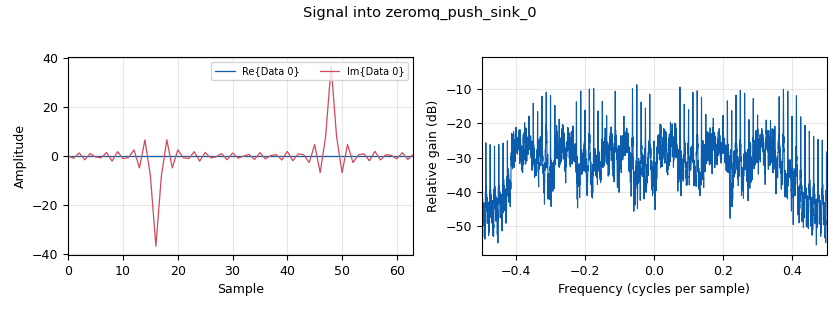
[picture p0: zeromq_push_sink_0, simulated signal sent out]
<?xml version='1.0' encoding='utf-8'?>
<?grc format='1' created='3.7.10'?>
<flow_graph>
<block>
<key>options</key>
<param><key>id</key><value>vr2_tx</value></param>
<param><key>category</key><value>Custom</value></param>
<param><key>generate_options</key><value>qt_gui</value></param>
<param><key>run_options</key><value>run</value></param>
<param><key>title</key><value>VR2 TX all-in-one</value></param>
</block>
<block>
<key>variable_function_probe</key>
<param><key>id</key><value>cpu_percent</value></param>
<param><key>block_id</key><value>zcpu</value></param>
<param><key>function_name</key><value>cpu_percent</value></param>
<param><key>value</key><value>0</value></param>
<param><key>poll_rate</key><value>1</value></param>
</block>
<block>
<key>variable</key>
<param><key>id</key><value>fft_len</value></param>
<param><key>value</key><value>64</value></param>
</block>
<block>
<key>variable_config</key>
<param><key>id</key><value>ip</value></param>
<param><key>config_file</key><value>./default</value></param>
<param><key>value</key><value>"127.0.0.1"</value></param>
<param><key>option</key><value>"ip"</value></param>
<param><key>section</key><value>"vr2_tx"</value></param>
<param><key>type</key><value>string</value></param>
<param><key>writeback</key><value>None</value></param>
</block>
<block>
<key>variable_function_probe</key>
<param><key>id</key><value>iq_rxrate</value></param>
<param><key>block_id</key><value>ziq_rxrate</value></param>
<param><key>function_name</key><value>rate</value></param>
<param><key>value</key><value>0</value></param>
<param><key>poll_rate</key><value>10</value></param>
</block>
<block>
<key>variable</key>
<param><key>id</key><value>occupied_carriers</value></param>
<param><key>value</key><value>(sorted(tuple(set([x for x in range(-26,27)]) - set(pilot_carriers[0]) - set([0,]))),)</value></param>
</block>
<block>
<key>variable</key>
<param><key>id</key><value>packet_len</value></param>
<param><key>value</key><value>100</value></param>
</block>
<block>
<key>variable</key>
<param><key>id</key><value>pattern1</value></param>
<param><key>value</key><value>[0., 1.41421356, 0., -1.41421356]</value></param>
</block>
<block>
<key>variable</key>
<param><key>id</key><value>pattern2</value></param>
<param><key>value</key><value>[1, -1, 1, -1]</value></param>
</block>
<block>
<key>variable</key>
<param><key>id</key><value>pilot_carriers</value></param>
<param><key>value</key><value>((-14, -7, 7, 14),)</value></param>
</block>
<block>
<key>variable</key>
<param><key>id</key><value>pilot_symbols</value></param>
<param><key>value</key><value>((1, 1, -1, -1),)</value></param>
</block>
<block>
<key>variable_function_probe</key>
<param><key>id</key><value>rx_goodput</value></param>
<param><key>block_id</key><value>zrxrate</value></param>
<param><key>function_name</key><value>rate</value></param>
<param><key>value</key><value>0</value></param>
<param><key>poll_rate</key><value>10</value></param>
</block>
<block>
<key>variable_config</key>
<param><key>id</key><value>rxport</value></param>
<param><key>config_file</key><value>./default</value></param>
<param><key>value</key><value>"2666"</value></param>
<param><key>option</key><value>"rxport2"</value></param>
<param><key>section</key><value>"usrp_hydra"</value></param>
<param><key>type</key><value>string</value></param>
<param><key>writeback</key><value>None</value></param>
</block>
<block>
<key>variable_config</key>
<param><key>id</key><value>samprate</value></param>
<param><key>config_file</key><value>./default</value></param>
<param><key>value</key><value>0</value></param>
<param><key>option</key><value>"samprate2"</value></param>
<param><key>section</key><value>"usrp_hydra"</value></param>
<param><key>type</key><value>real</value></param>
<param><key>writeback</key><value>None</value></param>
</block>
<block>
<key>variable</key>
<param><key>id</key><value>sync_word1</value></param>
<param><key>value</key><value>[0., 0., 0., 0., 0., 0.,] + pattern1 * ((fft_len-12)/len(pattern1))  +[0., 0., 0., 0., 0., 0.,] </value></param>
</block>
<block>
<key>variable</key>
<param><key>id</key><value>sync_word2</value></param>
<param><key>value</key><value>[0., 0., 0., 0., 0., 0.,] + pattern2 * ((fft_len-12)/len(pattern2))  +[0., 0., 0., 0., 0., 0.,] </value></param>
</block>
<block>
<key>variable_function_probe</key>
<param><key>id</key><value>tx_goodput</value></param>
<param><key>block_id</key><value>ztxrate</value></param>
<param><key>function_name</key><value>rate</value></param>
<param><key>value</key><value>0</value></param>
<param><key>poll_rate</key><value>10</value></param>
</block>
<block>
<key>variable_function_probe</key>
<param><key>id</key><value>tx_iq_rate</value></param>
<param><key>block_id</key><value>ztxiqrate</value></param>
<param><key>function_name</key><value>rate</value></param>
<param><key>value</key><value>0</value></param>
<param><key>poll_rate</key><value>10</value></param>
</block>
<block>
<key>variable_config</key>
<param><key>id</key><value>txoutport</value></param>
<param><key>config_file</key><value>./default</value></param>
<param><key>value</key><value>"2666"</value></param>
<param><key>option</key><value>"port"</value></param>
<param><key>section</key><value>"vr2_tx"</value></param>
<param><key>type</key><value>string</value></param>
<param><key>writeback</key><value>None</value></param>
</block>
<block>
<key>variable_config</key>
<param><key>id</key><value>usrpip</value></param>
<param><key>config_file</key><value>./default</value></param>
<param><key>value</key><value>"127.0.0.1"</value></param>
<param><key>option</key><value>"ip"</value></param>
<param><key>section</key><value>"usrp_hydra"</value></param>
<param><key>type</key><value>string</value></param>
<param><key>writeback</key><value>None</value></param>
</block>
<block>
<key>variable_config</key>
<param><key>id</key><value>xmlrpcport</value></param>
<param><key>config_file</key><value>default</value></param>
<param><key>value</key><value>8081</value></param>
<param><key>option</key><value>xmlrpcport</value></param>
<param><key>section</key><value>"vr2_tx"</value></param>
<param><key>type</key><value>int</value></param>
<param><key>writeback</key><value>None</value></param>
</block>
<block>
<key>variable</key>
<param><key>id</key><value>zcpu</value></param>
<param><key>value</key><value>psutil</value></param>
</block>
<block>
<key>import</key>
<param><key>id</key><value>acpu</value></param>
<param><key>import</key><value>import psutil</value></param>
</block>
<block>
<key>analog_random_source_x</key>
<param><key>id</key><value>analog_random_source_x_0</value></param>
<param><key>max</key><value>10</value></param>
<param><key>min</key><value>5</value></param>
<param><key>num_samps</key><value>1000</value></param>
<param><key>type</key><value>byte</value></param>
<param><key>repeat</key><value>True</value></param>
</block>
<block>
<key>blocks_stream_to_tagged_stream</key>
<param><key>id</key><value>blocks_stream_to_tagged_stream_0</value></param>
<param><key>len_tag_key</key><value>"packet_len"</value></param>
<param><key>packet_len</key><value>packet_len</value></param>
<param><key>type</key><value>byte</value></param>
</block>
<block>
<key>blocks_tag_debug</key>
<param><key>id</key><value>blocks_tag_debug_0</value></param>
<param><key>type</key><value>byte</value></param>
<param><key>name</key><value>RX'd Packet</value></param>
</block>
<block>
<key>blocks_tag_debug</key>
<param><key>id</key><value>blocks_tag_debug_0_0</value></param>
<param><key>type</key><value>byte</value></param>
<param><key>name</key><value>TX'd Packet</value></param>
</block>
<block>
<key>blocks_tag_debug</key>
<param><key>id</key><value>blocks_tag_debug_0_1</value></param>
<param><key>type</key><value>complex</value></param>
<param><key>name</key><value>RX'd IQ</value></param>
</block>
<block>
<key>blocks_throttle</key>
<param><key>id</key><value>blocks_throttle_0</value></param>
<param><key>samples_per_second</key><value>samprate</value></param>
<param><key>type</key><value>complex</value></param>
</block>
<block>
<key>digital_ofdm_rx</key>
<param><key>id</key><value>digital_ofdm_rx_0</value></param>
<param><key>cp_len</key><value>16</value></param>
<param><key>fft_len</key><value>64</value></param>
<param><key>header_mod</key><value>"BPSK"</value></param>
<param><key>occupied_carriers</key><value>occupied_carriers</value></param>
<param><key>packet_len_key</key><value>"packet_len"</value></param>
<param><key>payload_mod</key><value>"BPSK"</value></param>
<param><key>pilot_carriers</key><value>pilot_carriers</value></param>
<param><key>pilot_symbols</key><value>pilot_symbols</value></param>
<param><key>sync_word1</key><value>sync_word1</value></param>
<param><key>sync_word2</key><value>sync_word2</value></param>
</block>
<block>
<key>digital_ofdm_tx</key>
<param><key>id</key><value>digital_ofdm_tx_0</value></param>
<param><key>cp_len</key><value>16</value></param>
<param><key>fft_len</key><value>fft_len</value></param>
<param><key>header_mod</key><value>"BPSK"</value></param>
<param><key>packet_len_key</key><value>"packet_len"</value></param>
<param><key>occupied_carriers</key><value>occupied_carriers</value></param>
<param><key>payload_mod</key><value>"BPSK"</value></param>
<param><key>pilot_carriers</key><value>pilot_carriers</value></param>
<param><key>pilot_symbols</key><value>pilot_symbols</value></param>
<param><key>rolloff</key><value>0</value></param>
<param><key>sync_word1</key><value>sync_word1</value></param>
<param><key>sync_word2</key><value>sync_word2</value></param>
</block>
<block>
<key>qtgui_waterfall_sink_x</key>
<param><key>id</key><value>qtgui_waterfall_sink_x_0</value></param>
<param><key>bw</key><value>1e6</value></param>
<param><key>fc</key><value>0</value></param>
<param><key>fftsize</key><value>1024</value></param>
<param><key>showports</key><value>True</value></param>
<param><key>type</key><value>complex</value></param>
<param><key>wintype</key><value>firdes.WIN_BLACKMAN_hARRIS</value></param>
</block>
<block>
<key>xmlrpc_server</key>
<param><key>id</key><value>xmlrpc_server_0</value></param>
<param><key>addr</key><value>ip</value></param>
<param><key>port</key><value>xmlrpcport</value></param>
</block>
<block>
<key>zeromq_pull_source</key>
<param><key>id</key><value>zeromq_pull_source_0</value></param>
<param><key>address</key><value>"tcp://" + usrpip + ":" + rxport</value></param>
<param><key>type</key><value>complex</value></param>
<param><key>pass_tags</key><value>True</value></param>
<param><key>timeout</key><value>100</value></param>
</block>
<block>
<key>zeromq_push_sink</key>
<param><key>id</key><value>zeromq_push_sink_0</value></param>
<param><key>address</key><value>"tcp://" + ip + ":" + txoutport</value></param>
<param><key>type</key><value>complex</value></param>
<param><key>pass_tags</key><value>True</value></param>
<param><key>timeout</key><value>100</value></param>
</block>
<block>
<key>blocks_probe_rate</key>
<param><key>id</key><value>ziq_rxrate</value></param>
<param><key>type</key><value>complex</value></param>
<param><key>mintime</key><value>2000</value></param>
<param><key>alpha</key><value>0.15</value></param>
</block>
<block>
<key>blocks_probe_rate</key>
<param><key>id</key><value>zrxrate</value></param>
<param><key>type</key><value>byte</value></param>
<param><key>mintime</key><value>2000</value></param>
<param><key>alpha</key><value>0.15</value></param>
</block>
<block>
<key>blocks_probe_rate</key>
<param><key>id</key><value>ztxiqrate</value></param>
<param><key>type</key><value>complex</value></param>
<param><key>mintime</key><value>2000</value></param>
<param><key>alpha</key><value>0.15</value></param>
</block>
<block>
<key>blocks_probe_rate</key>
<param><key>id</key><value>ztxrate</value></param>
<param><key>type</key><value>byte</value></param>
<param><key>mintime</key><value>2000</value></param>
<param><key>alpha</key><value>0.15</value></param>
</block>
<connection><source_block_id>analog_random_source_x_0</source_block_id><sink_block_id>blocks_stream_to_tagged_stream_0</sink_block_id><source_key>0</source_key><sink_key>0</sink_key></connection>
<connection><source_block_id>blocks_stream_to_tagged_stream_0</source_block_id><sink_block_id>blocks_tag_debug_0_0</sink_block_id><source_key>0</source_key><sink_key>0</sink_key></connection>
<connection><source_block_id>blocks_stream_to_tagged_stream_0</source_block_id><sink_block_id>digital_ofdm_tx_0</sink_block_id><source_key>0</source_key><sink_key>0</sink_key></connection>
<connection><source_block_id>blocks_stream_to_tagged_stream_0</source_block_id><sink_block_id>ztxrate</sink_block_id><source_key>0</source_key><sink_key>0</sink_key></connection>
<connection><source_block_id>blocks_throttle_0</source_block_id><sink_block_id>zeromq_push_sink_0</sink_block_id><source_key>0</source_key><sink_key>0</sink_key></connection>
<connection><source_block_id>blocks_throttle_0</source_block_id><sink_block_id>ztxiqrate</sink_block_id><source_key>0</source_key><sink_key>0</sink_key></connection>
<connection><source_block_id>digital_ofdm_rx_0</source_block_id><sink_block_id>blocks_tag_debug_0</sink_block_id><source_key>0</source_key><sink_key>0</sink_key></connection>
<connection><source_block_id>digital_ofdm_rx_0</source_block_id><sink_block_id>zrxrate</sink_block_id><source_key>0</source_key><sink_key>0</sink_key></connection>
<connection><source_block_id>digital_ofdm_tx_0</source_block_id><sink_block_id>blocks_throttle_0</sink_block_id><source_key>0</source_key><sink_key>0</sink_key></connection>
<connection><source_block_id>zeromq_pull_source_0</source_block_id><sink_block_id>blocks_tag_debug_0_1</sink_block_id><source_key>0</source_key><sink_key>0</sink_key></connection>
<connection><source_block_id>zeromq_pull_source_0</source_block_id><sink_block_id>digital_ofdm_rx_0</sink_block_id><source_key>0</source_key><sink_key>0</sink_key></connection>
<connection><source_block_id>zeromq_pull_source_0</source_block_id><sink_block_id>qtgui_waterfall_sink_x_0</sink_block_id><source_key>0</source_key><sink_key>0</sink_key></connection>
<connection><source_block_id>zeromq_pull_source_0</source_block_id><sink_block_id>ziq_rxrate</sink_block_id><source_key>0</source_key><sink_key>0</sink_key></connection>
</flow_graph>
